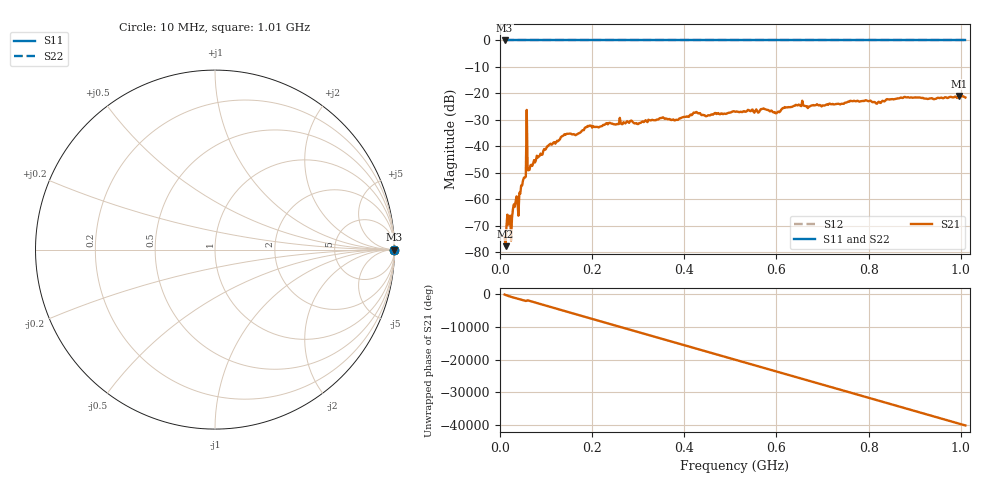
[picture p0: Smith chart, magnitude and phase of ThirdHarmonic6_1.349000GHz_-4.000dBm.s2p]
! 8/16/2025 3:10:19 PM
! C:\ANRITSUVNA\TEMP\TEMP.S2P
! CHANNEL.1
! TR.MEASUREMENT
! RAW.DATA
! RF.CORRECTION.OFF
! AVERAGING.OFF
! IF.BANDWIDTH: 5KHZ
! SWEEPTYPE:  FREQ.SWEEP(Linear)
! Reference Plane Port Info
! PORT:  PORT1  PORT2
! DISTANCE:  0  m  0  m
! TIME:  0  s  0  s
! PHASE.OFFSET:  0  deg.  0  deg.
! LOSS:  0  dB  0  dB
! REF.LOSS:  0  dB  0  dB
! REF.FREQ:  0  Hz  0  Hz
! Power Info
! POWER:  -20  dBm  -20  dBm
! EFF.POWER:  -20  dBm  -20  dBm
! SOURCE.ATTEN:  0  dB  0  dB
! TEST.ATTEN:  0  dB  0  dB
# GHZ S RI R 50.0
! FREQ.GHZ  S11RE  S11IM  S21RE  S21IM  S12RE  S12IM  S22RE  S22IM
!; PortSelection: Port_12
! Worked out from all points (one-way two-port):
!   501 points, 10 MHz to 1.01 GHz, reference 50 ohm
!   highest |S21| = -20.93 dB at 996 MHz (marker M1); lowest = -77.8 dB at 12 MHz (marker M2)
!   lowest |S11| = 0.0 dB at 10 MHz (marker M3)
!   |S11| at or under -10 dB: nowhere
!   |S22| runs from 0.0 to 0.0 dB; largest |S21 - S12| = 1.1
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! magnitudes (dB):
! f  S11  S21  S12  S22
! 10 MHz  0.0  -74.3  0.0  0.0
! 12 MHz  0.0  -77.8  0.0  0.0
! 18 MHz  0.0  -69.6  0.0  0.0
! 22 MHz  0.0  -66.3  0.0  0.0
! 28 MHz  0.0  -63.9  0.0  0.0
! 32 MHz  0.0  -62.9  0.0  0.0
! 42 MHz  0.0  -57.6  0.0  0.0
! 52 MHz  0.0  -51.9  0.0  0.0
! 54 MHz  0.0  -51.9  0.0  0.0
! 62 MHz  0.0  -49.1  0.0  0.0
! 64 MHz  0.0  -48.9  0.0  0.0
! 106 MHz  0.0  -39.5  0.0  0.0
! 142 MHz  0.0  -35.6  0.0  0.0
! 178 MHz  0.0  -34.1  0.0  0.0
! 194 MHz  0.0  -32.2  0.0  0.0
! 344 MHz  0.0  -29.8  0.0  0.0
! 510 MHz  0.0  -26.9  0.0  0.0
! 602 MHz  0.0  -27.1  0.0  0.0
! 678 MHz  0.0  -24.5  0.0  0.0
! 844 MHz  0.0  -22.3  0.0  0.0
! 996 MHz  0.0  -20.9  0.0  0.0
! 1.01 GHz  0.0  -21.6  0.0  0.0
